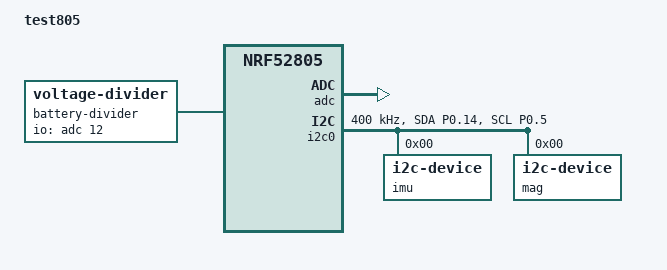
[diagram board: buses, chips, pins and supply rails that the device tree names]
// Copyright (c) 2024 Nordic Semiconductor ASA
// SPDX-License-Identifier: Apache-2.0

/dts-v1/;
#include <nordic/nrf52805_caaa.dtsi>

&pinctrl {
	i2c0_default: i2c0_default {
		group1 {
			psels = <NRF_PSEL(TWIM_SDA, 0, 14)>, <NRF_PSEL(TWIM_SCL, 0, 5)>;
			bias-disable;
		};
	};

	i2c0_sleep: i2c0_sleep {
		group1 {
			psels = <NRF_PSEL(TWIM_SDA, 0, 14)>, <NRF_PSEL(TWIM_SCL, 0, 5)>;
			bias-disable;
			low-power-enable;
		};
	};
};

/ {
	model = "test805";
	compatible = "test805";

	chosen {
		zephyr,sram = &sram0;
		zephyr,flash = &flash0;
		zephyr,code-partition = &slot0_partition;
	};
	
	battery-divider {
		compatible = "voltage-divider";
		status = "okay";
		io-channels = <&adc 12>; // Measure VDDHDIV5
		output-ohms = <1>;
		full-ohms = <2>;
	};
};

&flash0 {
	partitions {
		compatible = "fixed-partitions";
		#address-cells = <1>;
		#size-cells = <1>;

		boot_partition: partition@0 {
			label = "mcuboot";
			reg = <0x0 0xc000>;
		};
		slot0_partition: partition@c000 {
			label = "image-0";
			reg = <0xc000 0xa000>;
		};
		slot1_partition: partition@16000 {
			label = "image-1";
			reg = <0x16000 0xa000>;
		};
		scratch_partition: partition@20000 {
			label = "image-scratch";
			reg = <0x20000 0xa000>;
		};
		storage_partition: partition@2a000 {
			label = "storage";
			reg = <0x2a000 0x6000>;
		};
	};
};

&reg1 {
	regulator-initial-mode = <NRF5X_REG_MODE_DCDC>;
};

&adc {
	status = "okay";
};

&i2c0 {
	compatible = "nordic,nrf-twim";
	status = "okay";
	zephyr,concat-buf-size = <255>; // probable max for nrf52832
	zephyr,flash-buf-max-size = <255>; // probable max for nrf52832
	clock-frequency = <I2C_BITRATE_FAST>;
	pinctrl-0 = <&i2c0_default>;
	pinctrl-1 = <&i2c0_sleep>;
	pinctrl-names = "default", "sleep";

	imu: imu@0 { // any address out of range (00, 7f, etc. will search all addresses and stored address first if available, specify an address here to search first otherwise
		compatible = "i2c-device";
		label = "imu";
		reg = <0>;
	};

	mag: mag@0 {
		compatible = "i2c-device";
		label = "mag";
		reg = <0>;
	};

};
